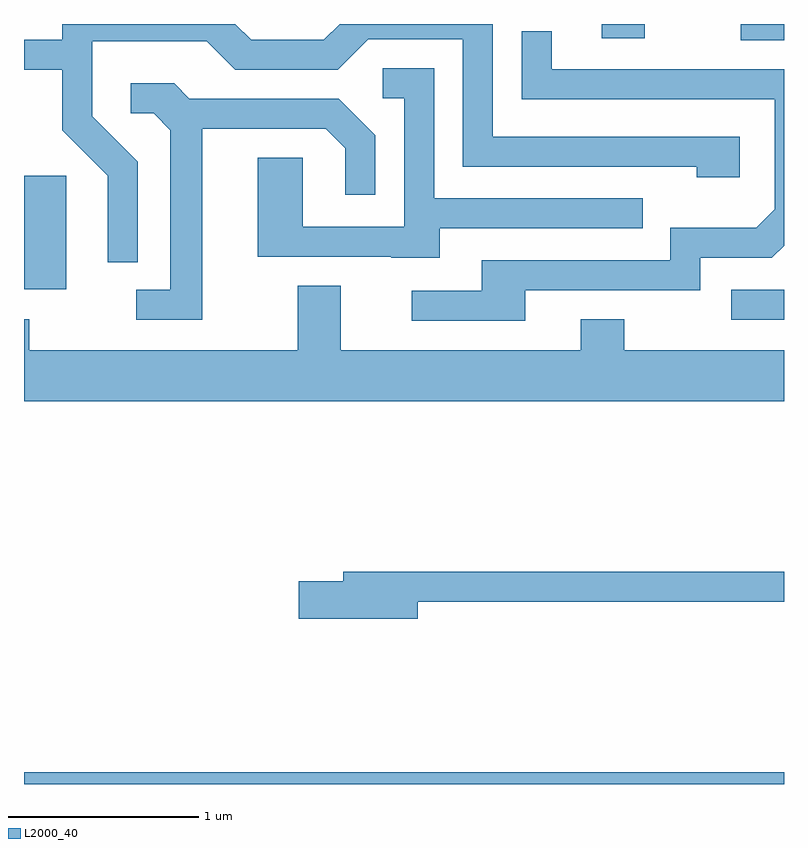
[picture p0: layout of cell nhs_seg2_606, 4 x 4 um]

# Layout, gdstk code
import gdstk
lib = gdstk.Library(unit=1e-6, precision=1e-09)
def R(c, l, rs):  # rectangles x0, y0, x1, y1
    for r in rs: c.add(gdstk.rectangle(r[:2], r[2:], *l))
def P(c, l, *ps):  # polygons
    for p in ps: c.add(gdstk.Polygon(p, *l))
L2000_40 = (2000, 40)

nhs_seg2_606 = lib.new_cell('nhs_seg2_606')
R(nhs_seg2_606, L2000_40, [(201.611,1101.802,205.611,1101.864), (205.333,1104.246,205.611,1104.404), (201.611,1104.406,201.834,1105.004), (205.383,1105.716,205.611,1105.802), (204.651,1105.726,204.879,1105.802)])
P(nhs_seg2_606, L2000_40, [(202.209,1105.077),(201.969,1105.317),(201.969,1105.711),(202.574,1105.711),(202.724,1105.561),(203.262,1105.561),(203.422,1105.721),(203.921,1105.721),(203.921,1105.051),(205.151,1105.051),(205.151,1104.996),(205.379,1104.996),(205.379,1105.209),(204.079,1105.209),(204.079,1105.802),(203.272,1105.802),(203.189,1105.719),(202.807,1105.719),(202.724,1105.802),(201.811,1105.802),(201.811,1105.719),(201.611,1105.719),(201.611,1105.561),(201.811,1105.561),(201.811,1105.244),(202.051,1105.004),(202.051,1104.548),(202.209,1104.548)],
  [(204.249,1104.401),(205.169,1104.401),(205.169,1104.571),(205.547,1104.571),(205.611,1104.635),(205.611,1105.564),(204.389,1105.564),(204.389,1105.763),(204.231,1105.763),(204.231,1105.406),(205.561,1105.406),(205.561,1104.827),(205.464,1104.729),(205.011,1104.729),(205.011,1104.559),(204.021,1104.559),(204.021,1104.399),(203.653,1104.399),(203.653,1104.241),(204.249,1104.241)],
  [(203.799,1104.726),(204.868,1104.726),(204.868,1104.884),(203.769,1104.884),(203.769,1105.569),(203.498,1105.569),(203.498,1105.411),(203.611,1105.411),(203.611,1104.734),(203.079,1104.734),(203.079,1105.099),(202.841,1105.099),(202.841,1104.576),(203.545,1104.576),(203.545,1104.571),(203.799,1104.571)],
  [(202.549,1105.251),(203.199,1105.251),(203.301,1105.149),(203.301,1104.903),(203.459,1104.903),(203.459,1105.217),(203.267,1105.409),(202.482,1105.409),(202.402,1105.489),(202.173,1105.489),(202.173,1105.331),(202.294,1105.331),(202.381,1105.244),(202.381,1104.404),(202.203,1104.404),(202.203,1104.246),(202.549,1104.246)],
  [(205.611,1104.084),(204.769,1104.084),(204.769,1104.249),(204.541,1104.249),(204.541,1104.084),(203.279,1104.084),(203.279,1104.424),(203.051,1104.424),(203.051,1104.084),(201.639,1104.084),(201.639,1104.249),(201.611,1104.249),(201.611,1103.816),(205.611,1103.816)],
  [(203.684,1102.761),(205.611,1102.761),(205.611,1102.919),(203.291,1102.919),(203.291,1102.869),(203.056,1102.869),(203.056,1102.671),(203.684,1102.671)])

lib.write_gds('nhs_seg2_606.gds')
